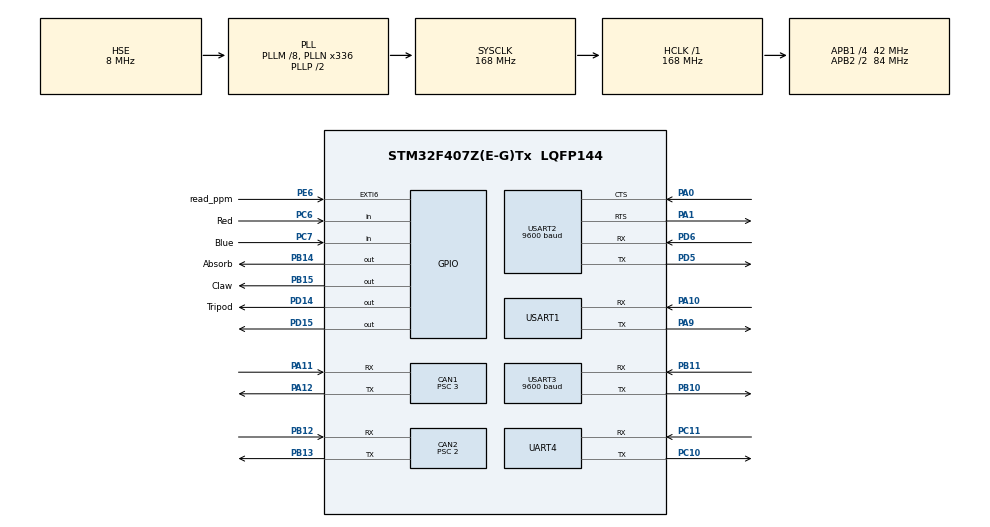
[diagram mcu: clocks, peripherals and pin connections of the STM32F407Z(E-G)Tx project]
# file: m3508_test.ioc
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CAN1.ABOM=ENABLE
CAN1.BS1=CAN_BS1_9TQ
CAN1.BS2=CAN_BS2_4TQ
CAN1.CalculateBaudRate=1000000
CAN1.CalculateTimeBit=1000
CAN1.CalculateTimeQuantum=71.42857142857143
CAN1.NART=ENABLE
CAN1.Prescaler=3
CAN2.ABOM=ENABLE
CAN2.BS1=CAN_BS1_15TQ
CAN2.BS2=CAN_BS2_5TQ
CAN2.CalculateBaudRate=1000000
CAN2.CalculateTimeBit=1000
CAN2.CalculateTimeQuantum=47.61904761904762
CAN2.NART=DISABLE
CAN2.Prescaler=2
FREERTOS.Tasks01=defaultTask,24,128,StartDefaultTask,Default,NULL,Dynamic,NULL,NULL;motor_control,8,128,MotorControl,Default,NULL,Dynamic,NULL,NULL;robot_state,8,128,RobotState,Default,NULL,Dynamic,NULL,NULL;robot_move,8,128,RobotMove,Default,NULL,Dynamic,NULL,NULL
Mcu.Family=STM32F4
Mcu.Name=STM32F407Z(E-G)Tx
Mcu.Package=LQFP144
NVIC.CAN1_RX0_IRQn=true\:2\:0\:true\:false\:true\:false\:true\:true\:true
NVIC.CAN1_RX1_IRQn=true\:2\:0\:true\:false\:true\:false\:true\:true\:true
NVIC.CAN1_SCE_IRQn=true\:2\:0\:true\:false\:true\:false\:true\:true\:true
NVIC.CAN1_TX_IRQn=true\:2\:0\:true\:false\:true\:false\:true\:true\:true
NVIC.CAN2_RX0_IRQn=true\:5\:0\:true\:false\:true\:true\:true\:true\:true
NVIC.CAN2_RX1_IRQn=true\:5\:0\:true\:false\:true\:true\:true\:true\:true
NVIC.CAN2_SCE_IRQn=true\:5\:0\:true\:false\:true\:true\:true\:true\:true
NVIC.CAN2_TX_IRQn=true\:5\:0\:true\:false\:true\:true\:true\:true\:true
NVIC.EXTI9_5_IRQn=true\:2\:0\:true\:false\:true\:false\:true\:true\:true
NVIC.PriorityGroup=NVIC_PRIORITYGROUP_4
NVIC.TIM2_IRQn=true\:5\:0\:false\:false\:true\:true\:true\:true\:true
NVIC.UART4_IRQn=true\:5\:0\:false\:false\:true\:true\:true\:true\:true
NVIC.USART1_IRQn=true\:5\:0\:false\:false\:true\:true\:true\:true\:true
NVIC.USART2_IRQn=true\:5\:0\:false\:false\:true\:true\:true\:true\:true
NVIC.USART3_IRQn=true\:5\:0\:false\:false\:true\:true\:true\:true\:true
PA0-WKUP.Mode=CTS_RTS
PA0-WKUP.Signal=USART2_CTS
PA1.Mode=CTS_RTS
PA1.Signal=USART2_RTS
PA10.Mode=Asynchronous
PA10.Signal=USART1_RX
PA11.Mode=CAN_Activate
PA11.Signal=CAN1_RX
PA12.Mode=CAN_Activate
PA12.Signal=CAN1_TX
PA13.Mode=Serial_Wire
PA13.Signal=SYS_JTMS-SWDIO
PA14.Mode=Serial_Wire
PA14.Signal=SYS_JTCK-SWCLK
PA9.Mode=Asynchronous
PA9.Signal=USART1_TX
PB10.Mode=Asynchronous
PB10.Signal=USART3_TX
PB11.Mode=Asynchronous
PB11.Signal=USART3_RX
PB12.Mode=CAN_Activate
PB12.Signal=CAN2_RX
PB13.Mode=CAN_Activate
PB13.Signal=CAN2_TX
PB14.GPIO_Label=Absorb
PB14.GPIO_PuPd=GPIO_PULLDOWN
PB14.GPIO_Speed=GPIO_SPEED_FREQ_MEDIUM
PB14.PinState=GPIO_PIN_RESET
PB14.Signal=GPIO_Output
PB15.GPIO_Label=Claw
PB15.GPIO_PuPd=GPIO_PULLDOWN
PB15.GPIO_Speed=GPIO_SPEED_FREQ_MEDIUM
PB15.PinState=GPIO_PIN_SET
PB15.Signal=GPIO_Output
PC10.Mode=Asynchronous
PC10.Signal=UART4_TX
PC11.Mode=Asynchronous
PC11.Signal=UART4_RX
PC14-OSC32_IN.Mode=LSE-External-Oscillator
PC14-OSC32_IN.Signal=RCC_OSC32_IN
PC15-OSC32_OUT.Mode=LSE-External-Oscillator
PC15-OSC32_OUT.Signal=RCC_OSC32_OUT
PC6.GPIO_Label=Red
PC6.GPIO_PuPd=GPIO_PULLUP
PC6.Signal=GPIO_Input
PC7.GPIO_Label=Blue
PC7.GPIO_PuPd=GPIO_PULLUP
PC7.Signal=GPIO_Input
PD14.GPIO_Label=Tripod
PD14.GPIO_PuPd=GPIO_PULLDOWN
PD14.GPIO_Speed=GPIO_SPEED_FREQ_MEDIUM
PD14.PinState=GPIO_PIN_RESET
PD14.Signal=GPIO_Output
PD15.GPIO_PuPd=GPIO_PULLDOWN
PD15.GPIO_Speed=GPIO_SPEED_FREQ_MEDIUM
PD15.PinState=GPIO_PIN_SET
PD15.Signal=GPIO_Output
PD5.Mode=Asynchronous
PD5.Signal=USART2_TX
PD6.Mode=Asynchronous
PD6.Signal=USART2_RX
PE6.GPIO_Label=read_ppm
PE6.GPIO_ModeDefaultEXTI=GPIO_MODE_IT_RISING
PE6.Signal=GPXTI6
PH0-OSC_IN.Mode=HSE-External-Oscillator
PH0-OSC_IN.Signal=RCC_OSC_IN
PH1-OSC_OUT.Mode=HSE-External-Oscillator
PH1-OSC_OUT.Signal=RCC_OSC_OUT
ProjectManager.HeapSize=0x200
ProjectManager.StackSize=0x400
ProjectManager.TargetToolchain=MDK-ARM V5.32
RCC.48MHZClocksFreq_Value=84000000
RCC.AHBFreq_Value=168000000
RCC.APB1CLKDivider=RCC_HCLK_DIV4
RCC.APB1Freq_Value=42000000
RCC.APB1TimFreq_Value=84000000
RCC.APB2CLKDivider=RCC_HCLK_DIV2
RCC.APB2Freq_Value=84000000
RCC.APB2TimFreq_Value=168000000
RCC.CortexFreq_Value=168000000
RCC.HCLKFreq_Value=168000000
RCC.HSE_VALUE=8000000
RCC.HSI_VALUE=16000000
RCC.PLLM=8
RCC.PLLN=336
RCC.PLLSourceVirtual=RCC_PLLSOURCE_HSE
RCC.SYSCLKFreq_VALUE=168000000
RCC.SYSCLKSource=RCC_SYSCLKSOURCE_PLLCLK
RCC.VCOOutputFreq_Value=336000000
TIM2.AutoReloadPreload=TIM_AUTORELOAD_PRELOAD_ENABLE
TIM2.Period=10000
TIM2.Prescaler=83
UART4.VirtualMode=Asynchronous
USART1.VirtualMode=VM_ASYNC
USART2.BaudRate=9600
USART2.VirtualMode=VM_ASYNC
USART3.BaudRate=9600
USART3.VirtualMode=VM_ASYNC
VP_FREERTOS_VS_CMSIS_V2.Mode=CMSIS_V2
VP_TIM2_VS_ClockSourceINT.Mode=Internal
board=custom

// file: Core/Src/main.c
/* USER CODE BEGIN Header */
/**
  ******************************************************************************
  * @file           : main.c
  * @brief          : Main program body
  ******************************************************************************
  * @attention
  *
  * Copyright (c) 2024 STMicroelectronics.
  * All rights reserved.
  *
  * This software is licensed under terms that can be found in the LICENSE file
  * in the root directory of this software component.
  * If no LICENSE file comes with this software, it is provided AS-IS.
  *
  ******************************************************************************
  */
/* USER CODE END Header */
#include "main.h"
#include "cmsis_os.h"
#include "can.h"
#include "tim.h"
#include "usart.h"
#include "gpio.h"

/* USER CODE BEGIN Includes */
#include <string.h>
#include "motor.h"
#include "pid.h"
#include "pid_adjust.h"
#include "driver_usart.h"
#include "ring_buffer.h"
#include "hardware.h"
#include "calculation.h"
#include "robot.h"
#include "MIT.h"

/* USER CODE END Includes */

/* USER CODE BEGIN PV */
ring_buffer test_buffer;
float Set_TARGET_POS =0.0f;
float Set_TARGET_RPM =5.f;
float Set_target_current=0.0f;

uint8_t RxBuffer_for4[1];//串口接收缓冲
uint8_t DataBuff_for4[200];

/* USER CODE END PV */

void SystemClock_Config(void);
void MX_FREERTOS_Init(void);

int main(void)
{

  /* MCU Configuration--------------------------------------------------------*/

  /* Reset of all peripherals, Initializes the Flash interface and the Systick. */
  HAL_Init();

  /* Configure the system clock */
  SystemClock_Config();

  /* Initialize all configured peripherals */
  MX_GPIO_Init();
  MX_CAN1_Init();
  MX_USART1_UART_Init();
  MX_CAN2_Init();
  MX_TIM2_Init();
  MX_USART3_UART_Init();
  MX_UART4_Init();
  MX_USART2_UART_Init();
  /* USER CODE BEGIN 2 */
  HAL_CAN_Start(&hcan1);
  HAL_CAN_Start(&hcan2);

  HAL_TIM_Base_Start_IT(&htim2);
  EnableDebugIRQ();
  Adjust_Init();
  ring_buffer_init(&test_buffer);

  m3508_Init();

//  self_inspection();
  //Set_target_current=0.0f;
  /* USER CODE END 2 */

  /* Init scheduler */
  osKernelInitialize();

  /* Call init function for freertos objects (in freertos.c) */
  MX_FREERTOS_Init();

  /* Start scheduler */
  osKernelStart();

  /* We should never get here as control is now taken by the scheduler */
  /* Infinite loop */
  while (1)
  {

  }
}

void SystemClock_Config(void)
{
  RCC_OscInitTypeDef RCC_OscInitStruct = {0};
  RCC_ClkInitTypeDef RCC_ClkInitStruct = {0};

  /** Configure the main internal regulator output voltage
  */
  __HAL_RCC_PWR_CLK_ENABLE();
  __HAL_PWR_VOLTAGESCALING_CONFIG(PWR_REGULATOR_VOLTAGE_SCALE1);

  /** Initializes the RCC Oscillators according to the specified parameters
  * in the RCC_OscInitTypeDef structure.
  */
  RCC_OscInitStruct.OscillatorType = RCC_OSCILLATORTYPE_HSE;
  RCC_OscInitStruct.HSEState = RCC_HSE_ON;
  RCC_OscInitStruct.PLL.PLLState = RCC_PLL_ON;
  RCC_OscInitStruct.PLL.PLLSource = RCC_PLLSOURCE_HSE;
  RCC_OscInitStruct.PLL.PLLM = 8;
  RCC_OscInitStruct.PLL.PLLN = 336;
  RCC_OscInitStruct.PLL.PLLP = RCC_PLLP_DIV2;
  RCC_OscInitStruct.PLL.PLLQ = 4;
  if (HAL_RCC_OscConfig(&RCC_OscInitStruct) != HAL_OK)
  {
    Error_Handler();
  }

  /** Initializes the CPU, AHB and APB buses clocks
  */
  RCC_ClkInitStruct.ClockType = RCC_CLOCKTYPE_HCLK|RCC_CLOCKTYPE_SYSCLK
                              |RCC_CLOCKTYPE_PCLK1|RCC_CLOCKTYPE_PCLK2;
  RCC_ClkInitStruct.SYSCLKSource = RCC_SYSCLKSOURCE_PLLCLK;
  RCC_ClkInitStruct.AHBCLKDivider = RCC_SYSCLK_DIV1;
  RCC_ClkInitStruct.APB1CLKDivider = RCC_HCLK_DIV4;
  RCC_ClkInitStruct.APB2CLKDivider = RCC_HCLK_DIV2;

  if (HAL_RCC_ClockConfig(&RCC_ClkInitStruct, FLASH_LATENCY_5) != HAL_OK)
  {
    Error_Handler();
  }
}

void Error_Handler(void)
{
  __disable_irq();
  while (1)
  {
  }
}

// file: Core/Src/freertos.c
/* USER CODE BEGIN Header */
/**
  ******************************************************************************
  * File Name          : freertos.c
  * Description        : Code for freertos applications
  ******************************************************************************
  * @attention
  *
  * Copyright (c) 2024 STMicroelectronics.
  * All rights reserved.
  *
  * This software is licensed under terms that can be found in the LICENSE file
  * in the root directory of this software component.
  * If no LICENSE file comes with this software, it is provided AS-IS.
  *
  ******************************************************************************
  */
/* USER CODE END Header */

#include "FreeRTOS.h"
#include "task.h"
#include "main.h"
#include "cmsis_os.h"

/* USER CODE BEGIN Includes */
#include "motor.h"
#include "driver_usart.h"
#include "hardware.h"
#include "calculation.h"
#include "hardware.h"
#include "FSM.h"
#include "robot.h"
#include "communicate.h"
#include "MIT.h"
#include "can.h"
/* USER CODE END Includes */

/* USER CODE BEGIN Variables */
static uint8_t g_printf=1;
extern uint16_t PPM_buf[10];

/* USER CODE END Variables */
/* Definitions for defaultTask */
osThreadId_t defaultTaskHandle;
const osThreadAttr_t defaultTask_attributes = {
  .name = "defaultTask",
  .stack_size = 128 * 4,
  .priority = (osPriority_t) osPriorityNormal,
};
/* Definitions for motor_control */
osThreadId_t motor_controlHandle;
const osThreadAttr_t motor_control_attributes = {
  .name = "motor_control",
  .stack_size = 128 * 4,
  .priority = (osPriority_t) osPriorityLow,
};
/* Definitions for robot_state */
osThreadId_t robot_stateHandle;
const osThreadAttr_t robot_state_attributes = {
  .name = "robot_state",
  .stack_size = 128 * 4,
  .priority = (osPriority_t) osPriorityLow,
};
/* Definitions for robot_move */
osThreadId_t robot_moveHandle;
const osThreadAttr_t robot_move_attributes = {
  .name = "robot_move",
  .stack_size = 128 * 4,
  .priority = (osPriority_t) osPriorityLow,
};

void StartDefaultTask(void *argument);
void MotorControl(void *argument);
void RobotState(void *argument);
void RobotMove(void *argument);

void MX_FREERTOS_Init(void); /* (MISRA C 2004 rule 8.1) */

void MX_FREERTOS_Init(void) {

  /* Create the thread(s) */
  /* creation of defaultTask */
  defaultTaskHandle = osThreadNew(StartDefaultTask, NULL, &defaultTask_attributes);

  /* creation of motor_control */
  motor_controlHandle = osThreadNew(MotorControl, NULL, &motor_control_attributes);

  /* creation of robot_state */
  robot_stateHandle = osThreadNew(RobotState, NULL, &robot_state_attributes);

  /* creation of robot_move */
  robot_moveHandle = osThreadNew(RobotMove, NULL, &robot_move_attributes);

}

void StartDefaultTask(void *argument)
{
  /* USER CODE BEGIN StartDefaultTask */
	static portTickType move_xLastWakeTime;
	const portTickType move_xFrequency = pdMS_TO_TICKS(100); // 延时10ms
  /* Infinite loop */
  for(;;)
  {
	  ActionReceive_FSM();

	self_inspection();

//	 MOTOR_REAL_INFO[0].TARGET_RPM=300;

//

////	absorb_ball(100);
////	Usart4_SendData(-1.0f,-2.0f,-3.0f,-1);
////	vTaskDelayUntil(&move_xLastWakeTime, move_xFrequency); // 绝对延时
////	  printf("%f,%f,%f,%d\n",Data_left,Data_right,Data_right,o);
////	 osDelay(10);
//	  MOTOR_REAL_INFO[3].TARGET_RPM=-3000;
	  osDelay(1);

  }
  /* USER CODE END StartDefaultTask */
}

void MotorControl(void *argument)
{
  /* USER CODE BEGIN MotorControl */
  /* Infinite loop */
  for(;;)
  {

//	  DM43_Init();
//	ctrl_motor2(DM43_ID1, 10, 3);
//    vTaskDelay(10);
	  MotorCtrl();
	  vTaskDelay(10);
  }
  /* USER CODE END MotorControl */
}

void RobotState(void *argument)
{
  /* USER CODE BEGIN RobotState */
  /* Infinite loop */
  for(;;)
  {
//	  left_self_inspection();
//	  rising_test();
//   printf("%f,%hd\n",MOTOR_REAL_INFO[1].TARGET_RPM,MOTOR_REAL_INFO[1].RPM);
//	  move();
//  shoot_test();

//	 Usart4_SendData(0,0,0,move_flag);
	 Move_FSM();
//	Remote_FSM();
//	move_test();
//  HAL_UART_Transmit(&huart4,&move_flag,1,0xff);
  vTaskDelay(10);
  }
  /* USER CODE END RobotState */
}

void RobotMove(void *argument)
{
  /* USER CODE BEGIN RobotMove */
  /* Infinite loop */
	for(;;)
  {

//	Move_Red();
//	 Absorb_Ball(30);
//	  shoot(4000);
	vTaskDelay(1);
  }
  /* USER CODE END RobotMove */
}
